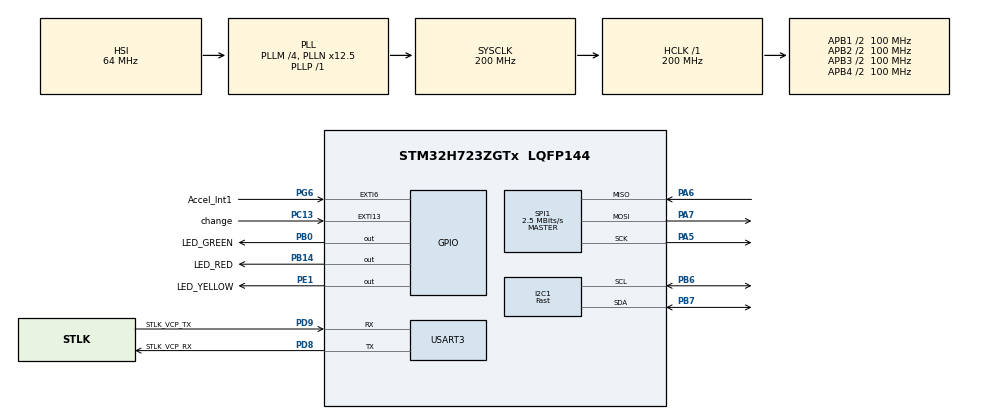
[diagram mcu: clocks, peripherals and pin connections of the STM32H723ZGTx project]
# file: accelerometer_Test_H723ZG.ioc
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CORTEX_M7.default_mode_Activation=1
I2C1.I2C_Speed_Mode=I2C_Fast
I2C1.Timing=0x009034B6
Mcu.Family=STM32H7
Mcu.Name=STM32H723ZGTx
Mcu.Package=LQFP144
NVIC.EXTI15_10_IRQn=true\:0\:0\:false\:false\:true\:true\:true\:true
NVIC.EXTI9_5_IRQn=true\:0\:0\:false\:false\:true\:true\:true\:true
NVIC.PriorityGroup=NVIC_PRIORITYGROUP_4
PA13(JTMS/SWDIO).GPIO_Label=SWDIO
PA13(JTMS/SWDIO).Signal=DEBUG_JTMS-SWDIO
PA14(JTCK/SWCLK).GPIO_Label=SWCLK
PA14(JTCK/SWCLK).Signal=DEBUG_JTCK-SWCLK
PA5.Mode=Full_Duplex_Master
PA5.Signal=SPI1_SCK
PA6.Mode=Full_Duplex_Master
PA6.Signal=SPI1_MISO
PA7.Mode=Full_Duplex_Master
PA7.Signal=SPI1_MOSI
PB0.GPIO_Label=LED_GREEN
PB0.Signal=GPIO_Output
PB14.GPIO_Label=LED_RED
PB14.Signal=GPIO_Output
PB6.Mode=I2C
PB6.Signal=I2C1_SCL
PB7.Mode=I2C
PB7.Signal=I2C1_SDA
PC13.GPIO_Label=change
PC13.Signal=GPXTI13
PC14-OSC32_IN.Signal=RCC_OSC32_IN
PC15-OSC32_OUT.Signal=RCC_OSC32_OUT
PD8.GPIO_Label=STLK_VCP_RX
PD8.Mode=Asynchronous
PD8.Signal=USART3_TX
PD9.GPIO_Label=STLK_VCP_TX
PD9.Mode=Asynchronous
PD9.Signal=USART3_RX
PE1.GPIO_Label=LED_YELLOW
PE1.Signal=GPIO_Output
PG6.GPIO_Label=Accel_Int1
PG6.Signal=GPXTI6
ProjectManager.HeapSize=0x200
ProjectManager.StackSize=0x400
ProjectManager.TargetToolchain=STM32CubeIDE
RCC.ADCFreq_Value=608000000
RCC.APB1Freq_Value=100000000
RCC.APB2Freq_Value=100000000
RCC.APB3Freq_Value=100000000
RCC.APB4Freq_Value=100000000
RCC.CortexFreq_Value=200000000
RCC.D1PPRE=RCC_APB3_DIV2
RCC.D2PPRE1=RCC_APB1_DIV2
RCC.D2PPRE2=RCC_APB2_DIV2
RCC.D3PPRE=RCC_APB4_DIV2
RCC.DIVM1=4
RCC.DIVM2=1
RCC.DIVN1=12
RCC.DIVN2=19
RCC.DIVP1=1
RCC.DIVQ1=10
RCC.HCLKFreq_Value=200000000
RCC.HSE_VALUE=8000000
RCC.PLLFRACN=4096
RCC.SYSCLKFreq_VALUE=200000000
RCC.SYSCLKSource=RCC_SYSCLKSOURCE_PLLCLK
RCC.USBCLockSelection=RCC_USBCLKSOURCE_HSI48
RCC.USBFreq_Value=48000000
SPI1.BaudRatePrescaler=SPI_BAUDRATEPRESCALER_8
SPI1.CalculateBaudRate=2.5 MBits/s
SPI1.DataSize=SPI_DATASIZE_8BIT
SPI1.Direction=SPI_DIRECTION_2LINES
SPI1.Mode=SPI_MODE_MASTER
SPI1.VirtualType=VM_MASTER
TIM16.Period=10000-1
USART3.VirtualMode-Asynchronous=VM_ASYNC
VP_MEMORYMAP_VS_MEMORYMAP.Mode=CurAppReg
VP_TIM16_VS_ClockSourceINT.Mode=Enable_Timer
board=NUCLEO-H723ZG

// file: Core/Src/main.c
/* USER CODE BEGIN Header */
/**
  ******************************************************************************
  * @file           : main.c
  * @brief          : Main program body
  ******************************************************************************
  * @attention
  *
  * Copyright (c) 2025 STMicroelectronics.
  * All rights reserved.
  *
  * This software is licensed under terms that can be found in the LICENSE file
  * in the root directory of this software component.
  * If no LICENSE file comes with this software, it is provided AS-IS.
  *
  ******************************************************************************
  */
/* USER CODE END Header */
#include "main.h"

/* USER CODE BEGIN Includes */
#include "LIS3DH.h"
#include <stdint.h>
#include <stdio.h>
#include <string.h>

/* USER CODE END Includes */

/* USER CODE BEGIN PD */
/*
 * I2C timing values for STM32H7 (hi2c1.Init.Timing)
 * - Set I2C1_TIMING_SELECT to 100 or 400 to choose the desired bus speed.
 * - Use STM32CubeMX or ST timing calculator to get a correct Timing value for
 *   your exact SYSCLK / APB clock configuration if the provided 100k value
 *   doesn't match your board/clock. The 400k value below is the existing value
 *   from this project.
 */
#define I2C1_TIMING_400KHZ    0x009034B6U /* existing 400 kHz timing */
#define I2C1_TIMING_100KHZ    0x009034B6U /* <--- REPLACE with correct 100 kHz timing for your clock */

/* USER CODE END PD */

I2C_HandleTypeDef hi2c1;

SPI_HandleTypeDef hspi1;

TIM_HandleTypeDef htim16;

UART_HandleTypeDef huart3;

/* USER CODE BEGIN PV */
volatile uint32_t button_press_count = 0;
volatile uint8_t normal_state_flag = 0;
volatile uint8_t accel_int1_flag = 0; // flag set by Accel_Int1 EXTI callback

typedef enum {
	NORMAL_STATE,
	BUTTON_PRESS_SINGLE
} StateType;
StateType currentState = NORMAL_STATE;
/* USER CODE END PV */

void SystemClock_Config(void);
static void MPU_Config(void);
static void MX_GPIO_Init(void);
static void MX_I2C1_Init(void);
static void MX_SPI1_Init(void);
static void MX_TIM16_Init(void);
static void MX_USART3_UART_Init(void);

int main(void)
{

  /* MPU Configuration--------------------------------------------------------*/
  MPU_Config();

  /* MCU Configuration--------------------------------------------------------*/

  /* Reset of all peripherals, Initializes the Flash interface and the Systick. */
  HAL_Init();

  /* Configure the system clock */
  SystemClock_Config();

  /* Initialize all configured peripherals */
  MX_GPIO_Init();
  MX_I2C1_Init();
  MX_SPI1_Init();
  MX_TIM16_Init();
  MX_USART3_UART_Init();
  /* USER CODE BEGIN 2 */
  lis3dh_init();
  HAL_Delay(1000);
  int16_t x_accel = 0;
  int16_t y_accel = 0;
  int16_t z_accel = 0;
  int time_set = 100;
  uint8_t fifo_flag = 0;
  /* USER CODE END 2 */

  /* Infinite loop */
  while (1)
  {

    /* USER CODE BEGIN 3 */
    switch (currentState)
	  {
		  case NORMAL_STATE:
			  if (normal_state_flag == 0)
			  {
				  HAL_UART_Transmit(&huart3, (uint8_t *)"Normal State: Reading Acceleration Data\r\n", strlen("Normal State: Reading Acceleration Data\r\n"), HAL_MAX_DELAY);
				  config_fifo_ctrl_reg(BYPASS_MODE, ENABLE_TRIGGER_INT1, FIFO_WATERMARK_LEVEL(31), 1);
				  normal_state_flag = 1;
			  }
			  time_set = 100;
			  read_XYZ_Acceleration(&x_accel, &y_accel, &z_accel);
			  print_XYZ_Acceleration(x_accel, y_accel, z_accel);
//			  read_status_reg(1);
			  HAL_Delay(time_set);
			  break;
		  case BUTTON_PRESS_SINGLE:
			  if (fifo_flag == 0)
			  {
				  fifo_flag = 1;
				  lis3dh_init_fifo_version();
				  HAL_Delay(1000);
		      }
			  else
			  {
				  config_fifo_ctrl_reg(FIFO_MODE, ENABLE_TRIGGER_INT1, FIFO_WATERMARK_LEVEL(31), 1);
//				  HAL_Delay(50);
			  }

			  // Will check the interrupt flag from accelerometer. Since I noticed
			  // on the logic analyzer that the data transmission occured when INT1 is high
			  // Here it will indicate that FIFO buffer is full and is ready to transmit data.
			  if (accel_int1_flag == 0)
			  {
				  // No INT1 from accelerometer yet
				  HAL_UART_Transmit(&huart3, (uint8_t *)"Waiting for FIFO INT1...\r\n", strlen("Waiting for FIFO INT1...\r\n"), HAL_MAX_DELAY);
			  }
			  else
			  {
				  // INT1 fired
				  char msg[64];
				  // Set up print message to border the output
				  snprintf(msg, sizeof(msg), "---- Start of FIFO Data ----\r\n");
				  HAL_UART_Transmit(&huart3, (uint8_t *)msg, strlen(msg), HAL_MAX_DELAY);
				  HAL_GPIO_TogglePin(LED_RED_GPIO_Port, LED_RED_Pin);
				  check_fifo_ready();
				  HAL_GPIO_TogglePin(LED_RED_GPIO_Port, LED_RED_Pin);
				  snprintf(msg, sizeof(msg), "---- End of FIFO Data ----\r\n");
				  HAL_UART_Transmit(&huart3, (uint8_t *)msg, strlen(msg), HAL_MAX_DELAY);
				  accel_int1_flag = 0; // reset flag

			  }

			  break;
	  }

  }
  /* USER CODE END 3 */
}

void SystemClock_Config(void)
{
  RCC_OscInitTypeDef RCC_OscInitStruct = {0};
  RCC_ClkInitTypeDef RCC_ClkInitStruct = {0};

  /** Supply configuration update enable
  */
  HAL_PWREx_ConfigSupply(PWR_LDO_SUPPLY);

  /** Configure the main internal regulator output voltage
  */
  __HAL_PWR_VOLTAGESCALING_CONFIG(PWR_REGULATOR_VOLTAGE_SCALE1);

  while(!__HAL_PWR_GET_FLAG(PWR_FLAG_VOSRDY)) {}

  /** Initializes the RCC Oscillators according to the specified parameters
  * in the RCC_OscInitTypeDef structure.
  */
  RCC_OscInitStruct.OscillatorType = RCC_OSCILLATORTYPE_HSI;
  RCC_OscInitStruct.HSIState = RCC_HSI_DIV1;
  RCC_OscInitStruct.HSICalibrationValue = 64;
  RCC_OscInitStruct.PLL.PLLState = RCC_PLL_ON;
  RCC_OscInitStruct.PLL.PLLSource = RCC_PLLSOURCE_HSI;
  RCC_OscInitStruct.PLL.PLLM = 4;
  RCC_OscInitStruct.PLL.PLLN = 12;
  RCC_OscInitStruct.PLL.PLLP = 1;
  RCC_OscInitStruct.PLL.PLLQ = 10;
  RCC_OscInitStruct.PLL.PLLR = 2;
  RCC_OscInitStruct.PLL.PLLRGE = RCC_PLL1VCIRANGE_3;
  RCC_OscInitStruct.PLL.PLLVCOSEL = RCC_PLL1VCOWIDE;
  RCC_OscInitStruct.PLL.PLLFRACN = 4096;
  if (HAL_RCC_OscConfig(&RCC_OscInitStruct) != HAL_OK)
  {
    Error_Handler();
  }

  /** Initializes the CPU, AHB and APB buses clocks
  */
  RCC_ClkInitStruct.ClockType = RCC_CLOCKTYPE_HCLK|RCC_CLOCKTYPE_SYSCLK
                              |RCC_CLOCKTYPE_PCLK1|RCC_CLOCKTYPE_PCLK2
                              |RCC_CLOCKTYPE_D3PCLK1|RCC_CLOCKTYPE_D1PCLK1;
  RCC_ClkInitStruct.SYSCLKSource = RCC_SYSCLKSOURCE_PLLCLK;
  RCC_ClkInitStruct.SYSCLKDivider = RCC_SYSCLK_DIV1;
  RCC_ClkInitStruct.AHBCLKDivider = RCC_HCLK_DIV1;
  RCC_ClkInitStruct.APB3CLKDivider = RCC_APB3_DIV2;
  RCC_ClkInitStruct.APB1CLKDivider = RCC_APB1_DIV2;
  RCC_ClkInitStruct.APB2CLKDivider = RCC_APB2_DIV2;
  RCC_ClkInitStruct.APB4CLKDivider = RCC_APB4_DIV2;

  if (HAL_RCC_ClockConfig(&RCC_ClkInitStruct, FLASH_LATENCY_2) != HAL_OK)
  {
    Error_Handler();
  }
}

static void MX_I2C1_Init(void)
{

  hi2c1.Instance = I2C1;
  hi2c1.Init.Timing = 0x009034B6;
  hi2c1.Init.OwnAddress1 = 0;
  hi2c1.Init.AddressingMode = I2C_ADDRESSINGMODE_7BIT;
  hi2c1.Init.DualAddressMode = I2C_DUALADDRESS_DISABLE;
  hi2c1.Init.OwnAddress2 = 0;
  hi2c1.Init.OwnAddress2Masks = I2C_OA2_NOMASK;
  hi2c1.Init.GeneralCallMode = I2C_GENERALCALL_DISABLE;
  hi2c1.Init.NoStretchMode = I2C_NOSTRETCH_DISABLE;
  if (HAL_I2C_Init(&hi2c1) != HAL_OK)
  {
    Error_Handler();
  }

  /** Configure Analogue filter
  */
  if (HAL_I2CEx_ConfigAnalogFilter(&hi2c1, I2C_ANALOGFILTER_ENABLE) != HAL_OK)
  {
    Error_Handler();
  }

  /** Configure Digital filter
  */
  if (HAL_I2CEx_ConfigDigitalFilter(&hi2c1, 0) != HAL_OK)
  {
    Error_Handler();
  }

}

static void MX_SPI1_Init(void)
{

  /* SPI1 parameter configuration*/
  hspi1.Instance = SPI1;
  hspi1.Init.Mode = SPI_MODE_MASTER;
  hspi1.Init.Direction = SPI_DIRECTION_2LINES;
  hspi1.Init.DataSize = SPI_DATASIZE_8BIT;
  hspi1.Init.CLKPolarity = SPI_POLARITY_LOW;
  hspi1.Init.CLKPhase = SPI_PHASE_1EDGE;
  hspi1.Init.NSS = SPI_NSS_SOFT;
  hspi1.Init.BaudRatePrescaler = SPI_BAUDRATEPRESCALER_8;
  hspi1.Init.FirstBit = SPI_FIRSTBIT_MSB;
  hspi1.Init.TIMode = SPI_TIMODE_DISABLE;
  hspi1.Init.CRCCalculation = SPI_CRCCALCULATION_DISABLE;
  hspi1.Init.CRCPolynomial = 0x0;
  hspi1.Init.NSSPMode = SPI_NSS_PULSE_ENABLE;
  hspi1.Init.NSSPolarity = SPI_NSS_POLARITY_LOW;
  hspi1.Init.FifoThreshold = SPI_FIFO_THRESHOLD_01DATA;
  hspi1.Init.TxCRCInitializationPattern = SPI_CRC_INITIALIZATION_ALL_ZERO_PATTERN;
  hspi1.Init.RxCRCInitializationPattern = SPI_CRC_INITIALIZATION_ALL_ZERO_PATTERN;
  hspi1.Init.MasterSSIdleness = SPI_MASTER_SS_IDLENESS_00CYCLE;
  hspi1.Init.MasterInterDataIdleness = SPI_MASTER_INTERDATA_IDLENESS_00CYCLE;
  hspi1.Init.MasterReceiverAutoSusp = SPI_MASTER_RX_AUTOSUSP_DISABLE;
  hspi1.Init.MasterKeepIOState = SPI_MASTER_KEEP_IO_STATE_DISABLE;
  hspi1.Init.IOSwap = SPI_IO_SWAP_DISABLE;
  if (HAL_SPI_Init(&hspi1) != HAL_OK)
  {
    Error_Handler();
  }

}

static void MX_TIM16_Init(void)
{

  htim16.Instance = TIM16;
  htim16.Init.Prescaler = 0;
  htim16.Init.CounterMode = TIM_COUNTERMODE_UP;
  htim16.Init.Period = 10000-1;
  htim16.Init.ClockDivision = TIM_CLOCKDIVISION_DIV1;
  htim16.Init.RepetitionCounter = 0;
  htim16.Init.AutoReloadPreload = TIM_AUTORELOAD_PRELOAD_DISABLE;
  if (HAL_TIM_Base_Init(&htim16) != HAL_OK)
  {
    Error_Handler();
  }

}

static void MX_USART3_UART_Init(void)
{

  huart3.Instance = USART3;
  huart3.Init.BaudRate = 115200;
  huart3.Init.WordLength = UART_WORDLENGTH_8B;
  huart3.Init.StopBits = UART_STOPBITS_1;
  huart3.Init.Parity = UART_PARITY_NONE;
  huart3.Init.Mode = UART_MODE_TX_RX;
  huart3.Init.HwFlowCtl = UART_HWCONTROL_NONE;
  huart3.Init.OverSampling = UART_OVERSAMPLING_16;
  huart3.Init.OneBitSampling = UART_ONE_BIT_SAMPLE_DISABLE;
  huart3.Init.ClockPrescaler = UART_PRESCALER_DIV1;
  huart3.AdvancedInit.AdvFeatureInit = UART_ADVFEATURE_NO_INIT;
  if (HAL_UART_Init(&huart3) != HAL_OK)
  {
    Error_Handler();
  }
  if (HAL_UARTEx_SetTxFifoThreshold(&huart3, UART_TXFIFO_THRESHOLD_1_8) != HAL_OK)
  {
    Error_Handler();
  }
  if (HAL_UARTEx_SetRxFifoThreshold(&huart3, UART_RXFIFO_THRESHOLD_1_8) != HAL_OK)
  {
    Error_Handler();
  }
  if (HAL_UARTEx_DisableFifoMode(&huart3) != HAL_OK)
  {
    Error_Handler();
  }

}

static void MX_GPIO_Init(void)
{
  GPIO_InitTypeDef GPIO_InitStruct = {0};

  /* GPIO Ports Clock Enable */
  __HAL_RCC_GPIOC_CLK_ENABLE();
  __HAL_RCC_GPIOA_CLK_ENABLE();
  __HAL_RCC_GPIOB_CLK_ENABLE();
  __HAL_RCC_GPIOD_CLK_ENABLE();
  __HAL_RCC_GPIOG_CLK_ENABLE();
  __HAL_RCC_GPIOE_CLK_ENABLE();

  /*Configure GPIO pin Output Level */
  HAL_GPIO_WritePin(GPIOB, LED_GREEN_Pin|LED_RED_Pin, GPIO_PIN_RESET);

  /*Configure GPIO pin Output Level */
  HAL_GPIO_WritePin(LED_YELLOW_GPIO_Port, LED_YELLOW_Pin, GPIO_PIN_RESET);

  /*Configure GPIO pin : change_Pin */
  GPIO_InitStruct.Pin = change_Pin;
  GPIO_InitStruct.Mode = GPIO_MODE_IT_RISING;
  GPIO_InitStruct.Pull = GPIO_NOPULL;
  HAL_GPIO_Init(change_GPIO_Port, &GPIO_InitStruct);

  /*Configure GPIO pins : LED_GREEN_Pin LED_RED_Pin */
  GPIO_InitStruct.Pin = LED_GREEN_Pin|LED_RED_Pin;
  GPIO_InitStruct.Mode = GPIO_MODE_OUTPUT_PP;
  GPIO_InitStruct.Pull = GPIO_NOPULL;
  GPIO_InitStruct.Speed = GPIO_SPEED_FREQ_LOW;
  HAL_GPIO_Init(GPIOB, &GPIO_InitStruct);

  /*Configure GPIO pin : Accel_Int1_Pin */
  GPIO_InitStruct.Pin = Accel_Int1_Pin;
  GPIO_InitStruct.Mode = GPIO_MODE_IT_RISING;
  GPIO_InitStruct.Pull = GPIO_NOPULL;
  HAL_GPIO_Init(Accel_Int1_GPIO_Port, &GPIO_InitStruct);

  /*Configure GPIO pin : LED_YELLOW_Pin */
  GPIO_InitStruct.Pin = LED_YELLOW_Pin;
  GPIO_InitStruct.Mode = GPIO_MODE_OUTPUT_PP;
  GPIO_InitStruct.Pull = GPIO_NOPULL;
  GPIO_InitStruct.Speed = GPIO_SPEED_FREQ_LOW;
  HAL_GPIO_Init(LED_YELLOW_GPIO_Port, &GPIO_InitStruct);

  /* EXTI interrupt init*/
  HAL_NVIC_SetPriority(Accel_Int1_EXTI_IRQn, 0, 0);
  HAL_NVIC_EnableIRQ(Accel_Int1_EXTI_IRQn);

  HAL_NVIC_SetPriority(change_EXTI_IRQn, 0, 0);
  HAL_NVIC_EnableIRQ(change_EXTI_IRQn);

}

/* USER CODE BEGIN 4 */
void HAL_GPIO_EXTI_Callback(uint16_t GPIO_Pin)
{
    if (GPIO_Pin == change_Pin)
    {

        /* increment press count (atomic on 32-bit) and signal main loop to handle reporting */
        button_press_count++;
        if (button_press_count == 1)
        {
            currentState = BUTTON_PRESS_SINGLE;
        }

        if (button_press_count >= 2)
        {
            button_press_count = 0;
            normal_state_flag = 0; // reset flag for normal state
            currentState = NORMAL_STATE;
        }

    }
    else if (GPIO_Pin == Accel_Int1_Pin)
    {
        /* Accelerometer INT1 (GPIOG pin 6) fired */
        accel_int1_flag = 1; // main loop can check this
        /* If you need immediate short processing, do it here but keep it short. */
    }
}

/* USER CODE END 4 */

 /* MPU Configuration */

void MPU_Config(void)
{
  MPU_Region_InitTypeDef MPU_InitStruct = {0};

  /* Disables the MPU */
  HAL_MPU_Disable();

  /** Initializes and configures the Region and the memory to be protected
  */
  MPU_InitStruct.Enable = MPU_REGION_ENABLE;
  MPU_InitStruct.Number = MPU_REGION_NUMBER0;
  MPU_InitStruct.BaseAddress = 0x0;
  MPU_InitStruct.Size = MPU_REGION_SIZE_4GB;
  MPU_InitStruct.SubRegionDisable = 0x87;
  MPU_InitStruct.TypeExtField = MPU_TEX_LEVEL0;
  MPU_InitStruct.AccessPermission = MPU_REGION_NO_ACCESS;
  MPU_InitStruct.DisableExec = MPU_INSTRUCTION_ACCESS_DISABLE;
  MPU_InitStruct.IsShareable = MPU_ACCESS_SHAREABLE;
  MPU_InitStruct.IsCacheable = MPU_ACCESS_NOT_CACHEABLE;
  MPU_InitStruct.IsBufferable = MPU_ACCESS_NOT_BUFFERABLE;

  HAL_MPU_ConfigRegion(&MPU_InitStruct);
  /* Enables the MPU */
  HAL_MPU_Enable(MPU_PRIVILEGED_DEFAULT);

}

void Error_Handler(void)
{
  __disable_irq();
  while (1)
  {
  }
}
